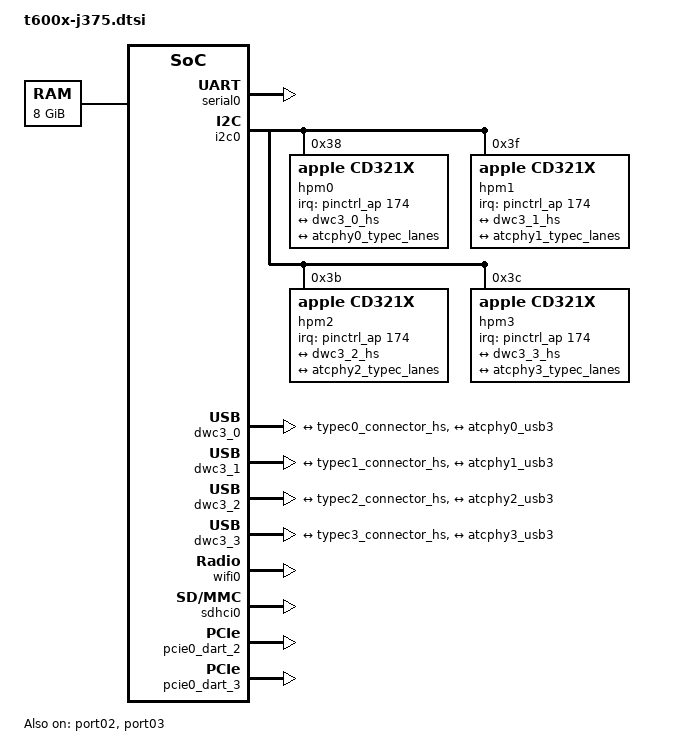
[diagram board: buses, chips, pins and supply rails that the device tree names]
// SPDX-License-Identifier: GPL-2.0+ OR MIT
/*
 * Mac Studio (2022)
 *
 * This file contains the parts common to J375 devices with both t6001 and t6002.
 *
 * target-type: J375c / J375d
 *
 * Copyright The Asahi Linux Contributors
 */

/ {
	chassis-type = "desktop";

	aliases {
		atcphy0 = &atcphy0;
		atcphy1 = &atcphy1;
		atcphy2 = &atcphy2;
		atcphy3 = &atcphy3;
		bluetooth0 = &bluetooth0;
		ethernet0 = &ethernet0;
		serial0 = &serial0;
		wifi0 = &wifi0;
	};

	chosen {
		#address-cells = <2>;
		#size-cells = <2>;
		ranges;

		stdout-path = "serial0";

		framebuffer0: framebuffer@0 {
			compatible = "apple,simple-framebuffer", "simple-framebuffer";
			reg = <0 0 0 0>; /* To be filled by loader */
			/* Format properties will be added by loader */
			status = "disabled";
		};
	};

	memory@10000000000 {
		device_type = "memory";
		reg = <0x100 0 0x2 0>; /* To be filled by loader */
	};
};

&serial0 {
	status = "okay";
};

/* USB Type C */
&i2c0 {
	hpm0: usb-pd@38 {
		compatible = "apple,cd321x";
		reg = <0x38>;
		interrupt-parent = <&pinctrl_ap>;
		interrupts = <174 IRQ_TYPE_LEVEL_LOW>;
		interrupt-names = "irq";

		typec0: connector {
			compatible = "usb-c-connector";
			label = "USB-C Back Left";
			power-role = "dual";
			data-role = "dual";

			ports {
				#address-cells = <1>;
				#size-cells = <0>;
				port@0 {
					reg = <0>;
					typec0_connector_hs: endpoint {
						remote-endpoint = <&dwc3_0_hs>;
					};
				};
				port@1 {
					reg = <1>;
					typec0_connector_ss: endpoint {
						remote-endpoint = <&atcphy0_typec_lanes>;
					};
				};
			};
		};
	};

	hpm1: usb-pd@3f {
		compatible = "apple,cd321x";
		reg = <0x3f>;
		interrupt-parent = <&pinctrl_ap>;
		interrupts = <174 IRQ_TYPE_LEVEL_LOW>;
		interrupt-names = "irq";

		typec1: connector {
			compatible = "usb-c-connector";
			label = "USB-C Back Left Middle";
			power-role = "dual";
			data-role = "dual";

			ports {
				#address-cells = <1>;
				#size-cells = <0>;
				port@0 {
					reg = <0>;
					typec1_connector_hs: endpoint {
						remote-endpoint = <&dwc3_1_hs>;
					};
				};
				port@1 {
					reg = <1>;
					typec1_connector_ss: endpoint {
						remote-endpoint = <&atcphy1_typec_lanes>;
					};
				};
			};
		};
	};

	hpm2: usb-pd@3b {
		compatible = "apple,cd321x";
		reg = <0x3b>;
		interrupt-parent = <&pinctrl_ap>;
		interrupts = <174 IRQ_TYPE_LEVEL_LOW>;
		interrupt-names = "irq";

		typec2: connector {
			compatible = "usb-c-connector";
			label = "USB-C Back Right Middle";
			power-role = "dual";
			data-role = "dual";

			ports {
				#address-cells = <1>;
				#size-cells = <0>;
				port@0 {
					reg = <0>;
					typec2_connector_hs: endpoint {
						remote-endpoint = <&dwc3_2_hs>;
					};
				};
				port@1 {
					reg = <1>;
					typec2_connector_ss: endpoint {
						remote-endpoint = <&atcphy2_typec_lanes>;
					};
				};
			};
		};
	};

	hpm3: usb-pd@3c {
		compatible = "apple,cd321x";
		reg = <0x3c>;
		interrupt-parent = <&pinctrl_ap>;
		interrupts = <174 IRQ_TYPE_LEVEL_LOW>;
		interrupt-names = "irq";

		typec3: connector {
			compatible = "usb-c-connector";
			label = "USB-C Back Right";
			power-role = "dual";
			data-role = "dual";

			ports {
				#address-cells = <1>;
				#size-cells = <0>;
				port@0 {
					reg = <0>;
					typec3_connector_hs: endpoint {
						remote-endpoint = <&dwc3_3_hs>;
					};
				};
				port@1 {
					reg = <1>;
					typec3_connector_ss: endpoint {
						remote-endpoint = <&atcphy3_typec_lanes>;
					};
				};
			};
		};
	};
};

/* USB controllers */
&dwc3_0 {
	ports {
		#address-cells = <1>;
		#size-cells = <0>;

		port@0 {
			reg = <0>;
			dwc3_0_hs: endpoint {
				remote-endpoint = <&typec0_connector_hs>;
			};
		};

		port@1 {
			reg = <1>;
			dwc3_0_ss: endpoint {
				remote-endpoint = <&atcphy0_usb3>;
			};
		};
	};
};

&dwc3_1 {
	ports {
		#address-cells = <1>;
		#size-cells = <0>;

		port@0 {
			reg = <0>;
			dwc3_1_hs: endpoint {
				remote-endpoint = <&typec1_connector_hs>;
			};
		};

		port@1 {
			reg = <1>;
			dwc3_1_ss: endpoint {
				remote-endpoint = <&atcphy1_usb3>;
			};
		};
	};
};

&dwc3_2 {
	ports {
		#address-cells = <1>;
		#size-cells = <0>;

		port@0 {
			reg = <0>;
			dwc3_2_hs: endpoint {
				remote-endpoint = <&typec2_connector_hs>;
			};
		};

		port@1 {
			reg = <1>;
			dwc3_2_ss: endpoint {
				remote-endpoint = <&atcphy2_usb3>;
			};
		};
	};
};

&dwc3_3 {
	ports {
		#address-cells = <1>;
		#size-cells = <0>;

		port@0 {
			reg = <0>;
			dwc3_3_hs: endpoint {
				remote-endpoint = <&typec3_connector_hs>;
			};
		};

		port@1 {
			reg = <1>;
			dwc3_3_ss: endpoint {
				remote-endpoint = <&atcphy3_usb3>;
			};
		};
	};
};

/* Type-C PHYs */
&atcphy0 {
	ports {
		#address-cells = <1>;
		#size-cells = <0>;

		port@0 {
			reg = <0>;
			atcphy0_typec_lanes: endpoint {
				remote-endpoint = <&typec0_connector_ss>;
			};
		};

		port@1 {
			reg = <1>;
			atcphy0_usb3: endpoint {
				remote-endpoint = <&dwc3_0_ss>;
			};
		};
	};
};

&atcphy1 {
	ports {
		#address-cells = <1>;
		#size-cells = <0>;

		port@0 {
			reg = <0>;
			atcphy1_typec_lanes: endpoint {
				remote-endpoint = <&typec1_connector_ss>;
			};
		};

		port@1 {
			reg = <1>;
			atcphy1_usb3: endpoint {
				remote-endpoint = <&dwc3_1_ss>;
			};
		};
	};
};

&atcphy2 {
	ports {
		#address-cells = <1>;
		#size-cells = <0>;

		port@0 {
			reg = <0>;
			atcphy2_typec_lanes: endpoint {
				remote-endpoint = <&typec2_connector_ss>;
			};
		};

		port@1 {
			reg = <1>;
			atcphy2_usb3: endpoint {
				remote-endpoint = <&dwc3_2_ss>;
			};
		};
	};
};

&atcphy3 {
	ports {
		#address-cells = <1>;
		#size-cells = <0>;

		port@0 {
			reg = <0>;
			atcphy3_typec_lanes: endpoint {
				remote-endpoint = <&typec3_connector_ss>;
			};
		};

		port@1 {
			reg = <1>;
			atcphy3_usb3: endpoint {
				remote-endpoint = <&dwc3_3_ss>;
			};
		};
	};
};

&nco_clkref {
	clock-frequency = <1068000000>;
};

/* PCIe devices */
&port00 {
	/* WLAN */
	bus-range = <1 1>;
	wifi0: wifi@0,0 {
		compatible = "pci14e4,4433";
		reg = <0x10000 0x0 0x0 0x0 0x0>;
		/* To be filled by the loader */
		local-mac-address = [00 10 18 00 00 10];
		apple,antenna-sku = "XX";
	};

	bluetooth0: bluetooth@0,1 {
		compatible = "pci14e4,5f71";
		reg = <0x10100 0x0 0x0 0x0 0x0>;
		/* To be filled by the loader */
		local-bd-address = [00 00 00 00 00 00];
	};
};

&port01 {
	/* SD card reader */
	bus-range = <2 2>;
	sdhci0: mmc@0,0 {
		compatible = "pci17a0,9755";
		reg = <0x20000 0x0 0x0 0x0 0x0>;
		cd-inverted;
		wp-inverted;
	};
};

&port02 {
	/* 10 Gbit Ethernet */
	bus-range = <3 3>;
	status = "okay";
	ethernet0: ethernet@0,0 {
		reg = <0x30000 0x0 0x0 0x0 0x0>;
		/* To be filled by the loader */
		local-mac-address = [00 10 18 00 00 00];
	};
};

&port03 {
	/* USB xHCI */
	bus-range = <4 4>;
	status = "okay";
};


&pcie0_dart_2 {
	status = "okay";
};

&pcie0_dart_3 {
	status = "okay";
};

#include "spi1-nvram.dtsi"
